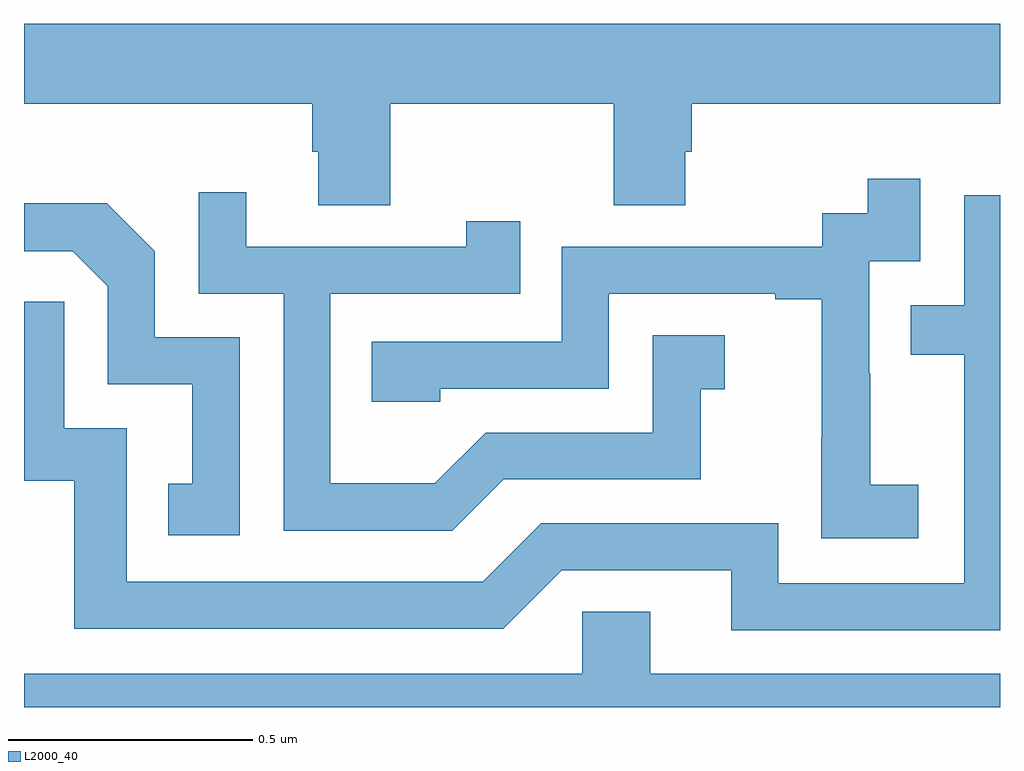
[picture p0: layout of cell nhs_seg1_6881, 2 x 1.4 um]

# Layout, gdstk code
import gdstk
lib = gdstk.Library(unit=1e-6, precision=1e-09)
def P(c, l, *ps):  # polygons
    for p in ps: c.add(gdstk.Polygon(p, *l))
L2000_40 = (2000, 40)

nhs_seg1_6881 = lib.new_cell('nhs_seg1_6881')
P(nhs_seg1_6881, L2000_40, [(197.751,514.436),(198.208,514.436),(198.208,514.228),(198.355,514.228),(198.355,514.338),(198.368,514.338),(198.368,514.436),(199,514.436),(199,514.6),(197,514.6),(197,514.436),(197.591,514.436),(197.591,514.338),(197.603,514.338),(197.603,514.228),(197.751,514.228)],
  [(198.832,513.655),(198.734,513.655),(198.734,513.884),(198.732,513.884),(198.732,514.113),(198.837,514.113),(198.837,514.282),(198.729,514.282),(198.729,514.212),(198.636,514.212),(198.636,514.143),(198.102,514.143),(198.102,513.948),(197.713,513.948),(197.713,513.825),(197.853,513.825),(197.853,513.852),(198.198,513.852),(198.198,514.047),(198.539,514.047),(198.539,514.035),(198.635,514.035),(198.635,513.751),(198.634,513.751),(198.634,513.545),(198.832,513.545)],
  [(197.983,513.666),(198.387,513.666),(198.387,513.851),(198.436,513.851),(198.436,513.961),(198.288,513.961),(198.288,513.762),(197.946,513.762),(197.842,513.658),(197.628,513.658),(197.628,514.047),(198.017,514.047),(198.017,514.195),(197.906,514.195),(197.906,514.143),(197.455,514.143),(197.455,514.255),(197.358,514.255),(197.358,514.047),(197.532,514.047),(197.532,513.561),(197.878,513.561)],
  [(199,514.248),(198.927,514.248),(198.927,514.023),(198.817,514.023),(198.817,513.922),(198.927,513.922),(198.927,513.453),(198.546,513.453),(198.546,513.576),(198.06,513.576),(197.94,513.456),(197.211,513.456),(197.211,513.771),(197.082,513.771),(197.082,514.03),(197,514.03),(197,513.663),(197.103,513.663),(197.103,513.36),(197.982,513.36),(198.102,513.48),(198.449,513.48),(198.449,513.357),(199,513.357)],
  [(197.442,513.957),(197.268,513.957),(197.268,514.134),(197.17,514.232),(197,514.232),(197,514.134),(197.1,514.134),(197.172,514.062),(197.172,513.861),(197.345,513.861),(197.345,513.657),(197.296,513.657),(197.296,513.552),(197.442,513.552)],
  [(199,513.268),(198.283,513.268),(198.283,513.395),(198.144,513.395),(198.144,513.268),(197,513.268),(197,513.199),(199,513.199)])

lib.write_gds('nhs_seg1_6881.gds')
